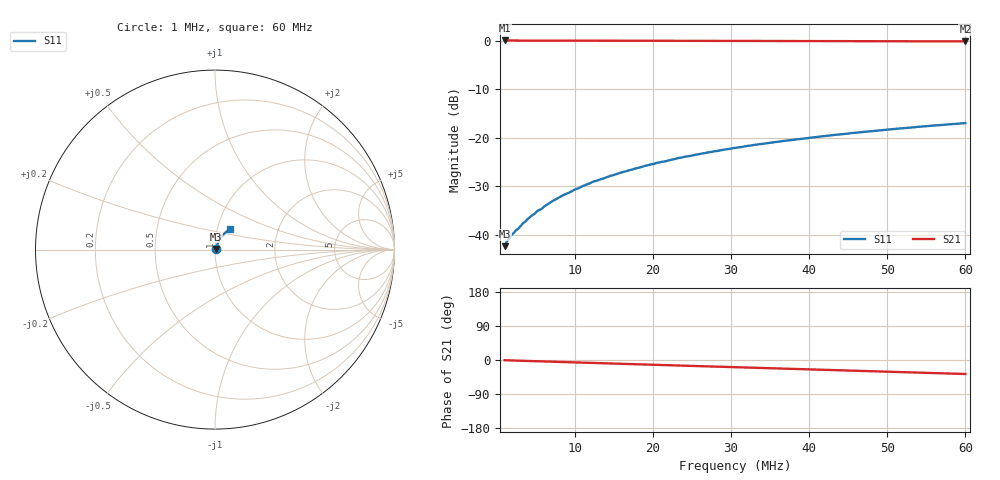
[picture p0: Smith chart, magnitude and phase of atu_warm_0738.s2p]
! S11/S21 from S-A-A-2 VNA
! Written 2026-11-14 07:37:51 by the saav2 MCP server
! S12 and S22 were not measured (1.5-port VNA) and are written as 0
# HZ S RI R 50
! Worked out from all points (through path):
!   201 points, 1 MHz to 60 MHz, reference 50 ohm
!   highest |S21| = 0.01 dB at 1 MHz (marker M1); lowest = -0.2 dB at 60 MHz (marker M2)
!   group delay of S21, straight-line fit = 1.7 ns
!   lowest |S11| = -42.3 dB at 1 MHz (marker M3), VSWR 1.02, Z = 50.7 + j0.331 ohm
!   |S11| at or under -10 dB: start of sweep to end of sweep
!   S12 and S22 are empty: the file has one direction only
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1000000  0.00693 0.00326  1.001 -0.00955  0 0  0 0
1295000  0.00743 0.00436  1.001 -0.0147  0 0  0 0
1590000  0.00745 0.00519  0.9997 -0.0182  0 0  0 0
1885000  0.00793 0.00609  0.9987 -0.0216  0 0  0 0
2770000  0.00817 0.00828  0.9978 -0.0308  0 0  0 0
3360000  0.00841 0.0102  0.9973 -0.0375  0 0  0 0
4540000  0.00932 0.0129  0.9967 -0.0502  0 0  0 0
4835000  0.00935 0.0136  0.9966 -0.0532  0 0  0 0
5130000  0.00958 0.0146  0.9963 -0.0564  0 0  0 0
5720000  0.00979 0.0157  0.9958 -0.0629  0 0  0 0
6310000  0.0103 0.0174  0.9954 -0.0694  0 0  0 0
8080000  0.0114 0.0218  0.9939 -0.0888  0 0  0 0
1.103e7  0.0133 0.029  0.9898 -0.1207  0 0  0 0
1.2505e7  0.0147 0.0325  0.9865 -0.1367  0 0  0 0
1.457e7  0.0163 0.0372  0.9828 -0.159  0 0  0 0
1.8995e7  0.0208 0.047  0.9724 -0.2056  0 0  0 0
2.0765e7  0.0224 0.0507  0.9678 -0.2234  0 0  0 0
2.5485e7  0.0283 0.0608  0.9537 -0.2717  0 0  0 0
3.05e7  0.0347 0.0706  0.9368 -0.322  0 0  0 0
4.053e7  0.0495 0.0878  0.8942 -0.4187  0 0  0 0
5.0265e7  0.0662 0.1018  0.8429 -0.5064  0 0  0 0
6e7  0.0852 0.1128  0.7823 -0.589  0 0  0 0
